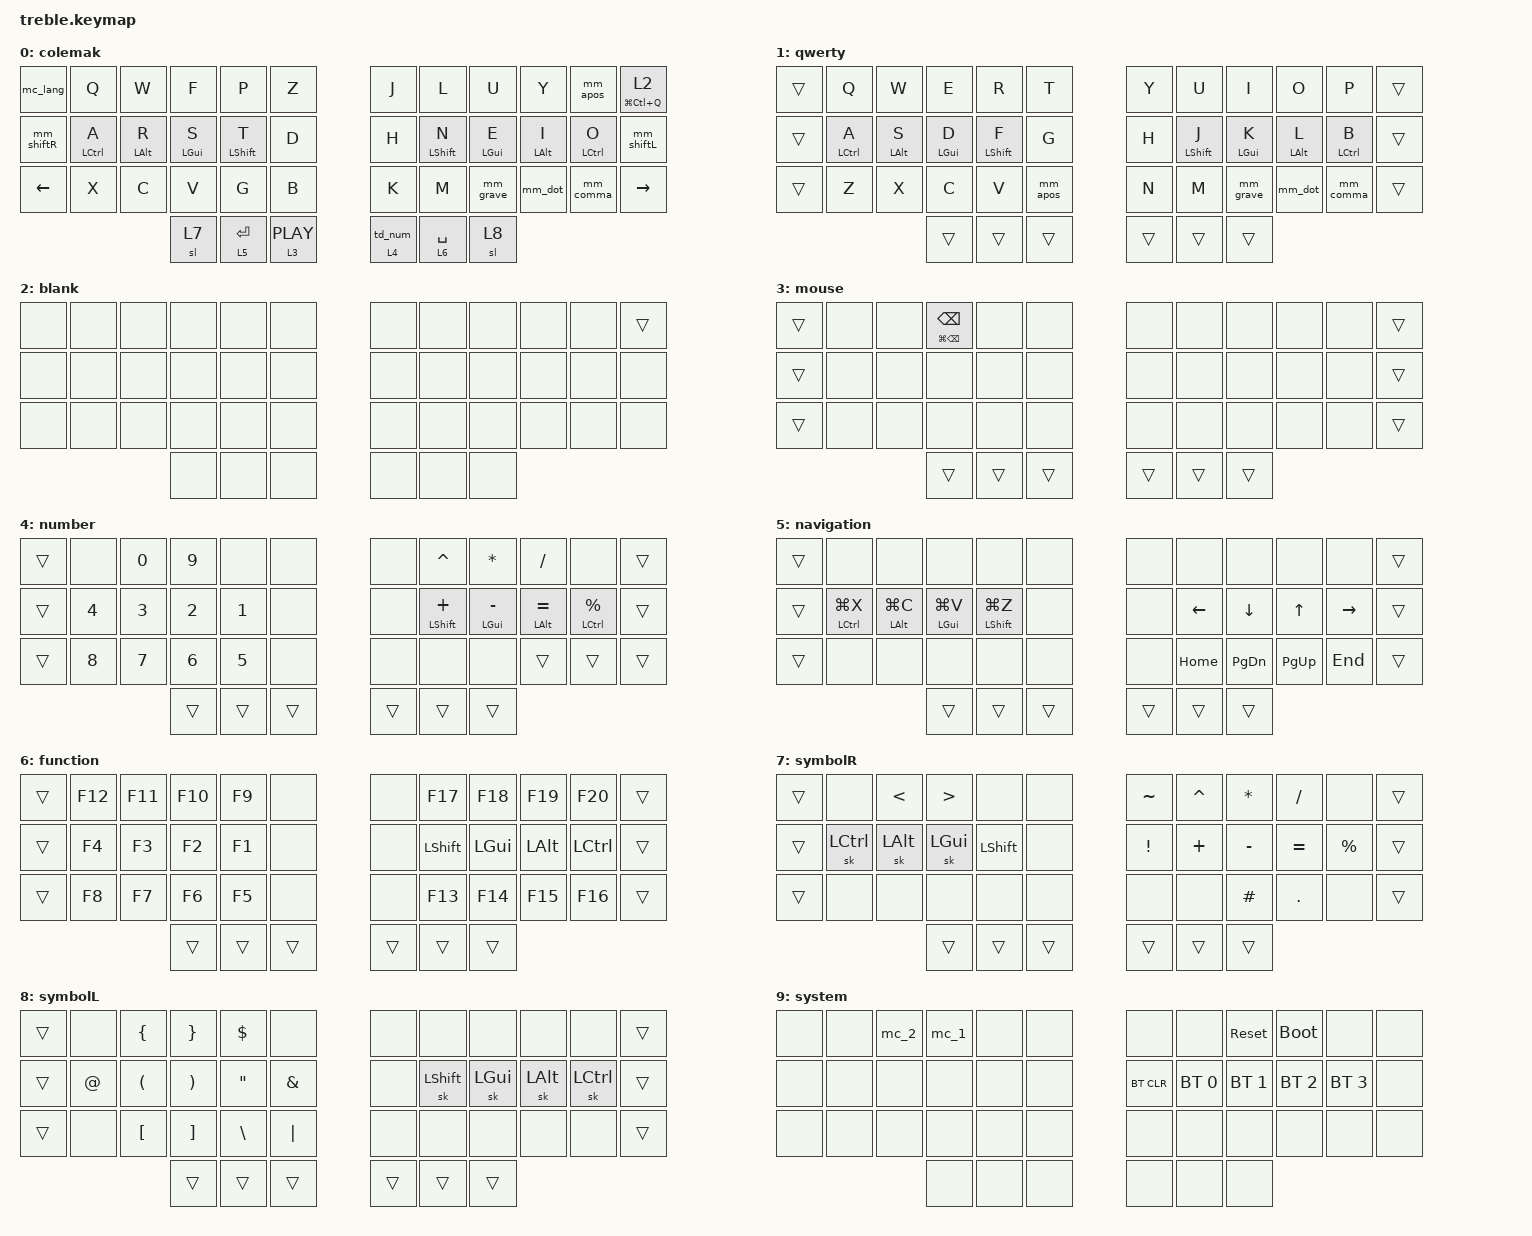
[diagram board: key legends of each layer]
#include <behaviors/num_word.dtsi>
#include <behaviors.dtsi>
#include <dt-bindings/zmk/bt.h>
#include <dt-bindings/zmk/keys.h>

/ {
    behaviors {
        /* stiky key */

        sk_quick: sk_quick {
            compatible = "zmk,behavior-sticky-key";
            label = "SK_QUICK";
            bindings = <&kp>;
            #binding-cells = <1>;
            release-after-ms = <1000>;
            quick-release;
        };

        /* mod-morph */

        mm_shiftR: mm_shiftR {
            compatible = "zmk,behavior-mod-morph";
            label = "MM_SHIFTR";
            bindings = <&sk_quick RIGHT_SHIFT>, <&kp CAPS>;

            #binding-cells = <0>;
            mods = <(MOD_LSFT)>;
        };

        mm_shiftL: mm_shiftL {
            compatible = "zmk,behavior-mod-morph";
            label = "MM_SHIFTL";
            bindings = <&sk_quick LEFT_SHIFT>, <&caps_word>;

            #binding-cells = <0>;
            mods = <(MOD_RSFT)>;
        };

        mm_space: mm_space {
            compatible = "zmk,behavior-mod-morph";
            label = "MM_SPACE";
            bindings = <&kp SPACE>, <&kp UNDER>;

            #binding-cells = <0>;
            mods = <(MOD_RSFT)>;
        };

        mm_apos: mm_apos {
            compatible = "zmk,behavior-mod-morph";
            label = "MM_APOS";
            bindings = <&kp APOS>, <&kp QUESTION>;

            #binding-cells = <0>;
            mods = <(MOD_RSFT)>;
        };

        mm_dot: mm_dot {
            compatible = "zmk,behavior-mod-morph";
            label = "MM_DOT";
            bindings = <&kp DOT>, <&kp COLON>;

            #binding-cells = <0>;
            mods = <(MOD_RSFT)>;
        };

        mm_comma: mm_comma {
            compatible = "zmk,behavior-mod-morph";
            label = "MM_COMMA";
            bindings = <&kp COMMA>, <&kp SEMI>;

            #binding-cells = <0>;
            mods = <(MOD_RSFT)>;
        };

        mm_grave: mm_grave {
            compatible = "zmk,behavior-mod-morph";
            label = "MM_GRAVE";
            bindings = <&kp GRAVE>, <&mc_code>;

            #binding-cells = <0>;
            mods = <(MOD_RSFT)>;
        };

        /* tap-dance */

        td_num: td_num {
            compatible = "zmk,behavior-tap-dance";
            #binding-cells = <0>;
            tapping-term-ms = <200>;
            bindings = <&num_word 4>, <&sl 4>;
        };

         /* mod-tap */

        mt_tapL: mt_tapL {
            compatible = "zmk,behavior-hold-tap";
            label = "MT_TAPL";
            bindings = <&kp>, <&kp>;

            #binding-cells = <2>;
            flavor = "tap-preferred";
            require-prior-idle-ms = <150>;
            hold-trigger-key-positions = <6 7 8 9 10 18 19 20 21 22 30 31 32 33 34 40 39>;
            tapping-term-ms = <240>;
            quick-tap-ms = <175>;
            hold-trigger-on-release;
        };

        mt_tapR: mt_tapR {
            compatible = "zmk,behavior-hold-tap";
            label = "MT_TAPR";
            bindings = <&kp>, <&kp>;

            #binding-cells = <2>;
            tapping-term-ms = <240>;
            quick-tap-ms = <175>;
            require-prior-idle-ms = <150>;
            flavor = "tap-preferred";
            hold-trigger-key-positions = <1 2 3 4 5 13 14 15 16 17 25 26 27 28 29 37 38>;
            hold-trigger-on-release;
        };

        mt_holdL: mt_holdL {
            compatible = "zmk,behavior-hold-tap";
            label = "MT_HOLDL";
            bindings = <&kp>, <&kp>;

            #binding-cells = <2>;
            tapping-term-ms = <280>;
            flavor = "hold-preferred";
            hold-trigger-key-positions = <13 14 15 16 19 20 21 22 7 8 9 10 20 31 32 33 34 6 18 30 39 40>;
            require-prior-idle-ms = <150>;
        };

        mt_holdR: mt_holdR {
            compatible = "zmk,behavior-hold-tap";
            label = "MT_HOLDR";
            bindings = <&kp>, <&kp>;

            #binding-cells = <2>;
            tapping-term-ms = <280>;
            flavor = "hold-preferred";
            hold-trigger-key-positions = <2 3 13 14 15 16 25 26 27 28 37 19 20 21 22>;
            require-prior-idle-ms = <150>;
        };

        /* layer-tap */

        lt_num: lt_num {
            compatible = "zmk,behavior-hold-tap";
            label = "LT_NUM";
            bindings = <&mo>, <&td_num>;

            #binding-cells = <2>;
            tapping-term-ms = <200>;
            flavor = "balanced";
        };

        lt_bal: lt_bal {
            compatible = "zmk,behavior-hold-tap";
            label = "LT_BAL";
            bindings = <&mo>, <&kp>;

            #binding-cells = <2>;
            tapping-term-ms = <200>;
            flavor = "balanced";
        };

        lt_nav: lt_nav {
            compatible = "zmk,behavior-hold-tap";
            label = "LT_NAV";
            bindings = <&mo>, <&kp>;

            #binding-cells = <2>;
            tapping-term-ms = <280>;
            flavor = "hold-preferred";
            hold-trigger-key-positions = <19 20 21 22 40 32 33 34 31 7 8 9 10 20 39 30 18 6 13 14 15 16>;
            require-prior-idle-ms = <150>;
        };

        lt_fun: lt_fun {
            compatible = "zmk,behavior-hold-tap";
            label = "LT_FUN";
            bindings = <&mo>, <&mm_space>;

            #binding-cells = <2>;
            tapping-term-ms = <280>;
            require-prior-idle-ms = <150>;
            flavor = "hold-preferred";
            hold-trigger-key-positions = <16 15 14 13 28 27 26 25 3 2 37 19 20 21 22 4 1>;
        };

        /* extra */

        ht_bspc: ht_bspc {
            compatible = "zmk,behavior-hold-tap";
            label = "HT_BSPC";
            bindings = <&kp>, <&kp>;

            #binding-cells = <2>;
            tapping-term-ms = <200>;
            quick-tap-ms = <175>;
            flavor = "tap-preferred";
        };

        ht_lock: ht_lock {
            compatible = "zmk,behavior-hold-tap";
            label = "HT_LOCK";
            bindings = <&kp>, <&tog>;

            #binding-cells = <2>;
            tapping-term-ms = <500>;
            flavor = "tap-preferred";
        };
    };

    /* macros */

    macros {
        mc_lang: mc_lang {
            compatible = "zmk,behavior-macro";
            #binding-cells = <0>;
            bindings =
                <&tog 1>,
                <&macro_press>,
                <&kp LALT &kp LCTRL>,
                <&macro_tap>,
                <&kp SPACE>,
                <&macro_release>,
                <&kp LALT &kp LCTRL>;

            label = "MC_LANG";
        };

        mc_1: mc_1 {
            compatible = "zmk,behavior-macro";
            #binding-cells = <0>;
            bindings = <&kp N1>;
            label = "MC_1";
            wait-ms = <1>;
            tap-ms = <1>;
        };

        mc_2: mc_2 {
            compatible = "zmk,behavior-macro";
            #binding-cells = <0>;
            bindings = <&kp N2>;
            label = "MC_2";
            wait-ms = <1>;
            tap-ms = <1>;
        };

        mc_code: mc_code {
            compatible = "zmk,behavior-macro";
            #binding-cells = <0>;
            bindings = <&kp GRAVE &kp GRAVE &kp GRAVE>;
            label = "MC_CODE";
            wait-ms = <1>;
            tap-ms = <1>;
        };
    };

    /* combos */

    combos {
        compatible = "zmk,combos";

        bspc {
            bindings = <&kp BACKSPACE>;
            key-positions = <9 8>;
            layers = <0 5 4 1 7 8 3 6>;
            require-prior-idle-ms = <75>;
            timeout-ms = <40>;
            slow-release;
        };

        del {
            bindings = <&kp DEL>;
            key-positions = <8 7>;
            timeout-ms = <40>;
            slow-release;
            require-prior-idle-ms = <75>;
            layers = <0 5 4 1 7 8 3 6>;
        };

        tab {
            bindings = <&kp TAB>;
            key-positions = <3 2>;
            timeout-ms = <40>;
            require-prior-idle-ms = <75>;
            layers = <0 1 5 4 6 3 7 8>;
            slow-release;
        };

        esc {
            bindings = <&kp ESC>;
            key-positions = <3 4>;
            timeout-ms = <40>;
            require-prior-idle-ms = <75>;
            layers = <0 1 3 4 5 6 7 8>;
            slow-release;
        };

        vol_dn {
            bindings = <&kp C_VOL_DN>;
            key-positions = <31 32>;
            require-prior-idle-ms = <150>;
            layers = <0 1>;
        };

        vol_up {
            bindings = <&kp C_VOL_UP>;
            key-positions = <32 33>;
            require-prior-idle-ms = <150>;
            layers = <0 1>;
        };

        bri_up {
            bindings = <&kp C_BRI_UP>;
            key-positions = <28 27>;
            require-prior-idle-ms = <150>;
            layers = <0 1>;
        };

        bri_dn {
            bindings = <&kp C_BRI_DEC>;
            key-positions = <27 26>;
            require-prior-idle-ms = <150>;
            layers = <0 1>;
        };

        next {
            bindings = <&kp C_NEXT>;
            key-positions = <31 33>;
            require-prior-idle-ms = <150>;
            layers = <0 1>;
        };

        prev {
            bindings = <&kp C_PREV>;
            key-positions = <26 28>;
            require-prior-idle-ms = <150>;
            layers = <0 1>;
        };
    };

    keymap {
        compatible = "zmk,keymap";

        colemak {
            bindings = <
&mc_lang    &kp Q             &kp W            &kp F            &kp P              &kp Z                                             &kp J            &kp L              &kp U            &kp Y            &mm_apos          &ht_lock LG(LC(Q)) 2
&mm_shiftR  &mt_tapL LCTRL A  &mt_tapL LALT R  &mt_tapL LGUI S  &mt_tapL LSHIFT T  &kp D                                             &kp H            &mt_tapR LSHIFT N  &mt_tapR LGUI E  &mt_tapR LALT I  &mt_tapR LCTRL O  &mm_shiftL
&kp LEFT    &kp X             &kp C            &kp V            &kp G              &kp B                                             &kp K            &kp M              &mm_grave        &mm_dot          &mm_comma         &kp RIGHT
                                                                &sl 7              &lt_nav 5 ENTER  &lt_bal 3 C_PLAY  &lt_num 4 0    &lt_fun 6 SPACE  &sl 8
            >;
        };

        qwerty {
            bindings = <
&trans  &kp Q             &kp W            &kp E            &kp R             &kp T                     &kp Y   &kp U             &kp I            &kp O            &kp P             &trans
&trans  &mt_tapL LCTRL A  &mt_tapL LALT S  &mt_tapL LGUI D  &mt_tapL LSHFT F  &kp G                     &kp H   &mt_tapR LSHFT J  &mt_tapR LGUI K  &mt_tapR LALT L  &mt_tapR LCTRL B  &trans
&trans  &kp Z             &kp X            &kp C            &kp V             &mm_apos                  &kp N   &kp M             &mm_grave        &mm_dot          &mm_comma         &trans
                                                            &trans            &trans    &trans  &trans  &trans  &trans
            >;
        };

        blank {
            bindings = <
&none  &none  &none  &none  &none  &none                &none  &none  &none  &none  &none  &trans
&none  &none  &none  &none  &none  &none                &none  &none  &none  &none  &none  &none
&none  &none  &none  &none  &none  &none                &none  &none  &none  &none  &none  &none
                            &none  &none  &none  &none  &none  &none
            >;
        };

        mouse {
            bindings = <
&trans  &none  &none  &ht_bspc LG(BACKSPACE) BACKSPACE  &none   &none                   &none   &none   &none  &none  &none  &trans
&trans  &none  &none  &none                             &none   &none                   &none   &none   &none  &none  &none  &trans
&trans  &none  &none  &none                             &none   &none                   &none   &none   &none  &none  &none  &trans
                                                        &trans  &trans  &trans  &trans  &trans  &trans
            >;
        };

        number {
            bindings = <
&trans  &none   &kp N0  &kp N9  &none   &none                   &none   &kp CARET             &kp STAR              &kp SLASH             &none                    &trans
&trans  &kp N4  &kp N3  &kp N2  &kp N1  &none                   &none   &mt_holdR LSHFT PLUS  &mt_holdR LGUI MINUS  &mt_holdR LALT EQUAL  &mt_holdR LCTRL PERCENT  &trans
&trans  &kp N8  &kp N7  &kp N6  &kp N5  &none                   &none   &none                 &none                 &trans                &trans                   &trans
                                &trans  &trans  &trans  &trans  &trans  &trans
            >;
        };

        navigation {
            bindings = <
&trans  &none                  &none                 &none                 &none                  &none                   &none   &none     &none      &none      &none      &trans
&trans  &mt_holdL LCTRL LG(X)  &mt_holdL LALT LG(C)  &mt_holdL LGUI LG(V)  &mt_holdL LSHFT LG(Z)  &none                   &none   &kp LEFT  &kp DOWN   &kp UP     &kp RIGHT  &trans
&trans  &none                  &none                 &none                 &none                  &none                   &none   &kp HOME  &kp PG_DN  &kp PG_UP  &kp END    &trans
                                                                           &trans                 &trans  &trans  &trans  &trans  &trans
            >;
        };

        function {
            bindings = <
&trans  &kp F12  &kp F11  &kp F10  &kp F9  &none                   &none   &kp F17    &kp F18   &kp F19   &kp F20    &trans
&trans  &kp F4   &kp F3   &kp F2   &kp F1  &none                   &none   &kp LSHFT  &kp LGUI  &kp LALT  &kp LCTRL  &trans
&trans  &kp F8   &kp F7   &kp F6   &kp F5  &none                   &none   &kp F13    &kp F14   &kp F15   &kp F16    &trans
                                   &trans  &trans  &trans  &trans  &trans  &trans
            >;
        };

        symbolR {
            bindings = <
&trans  &none      &kp LESS_THAN  &kp GREATER_THAN  &none       &none                   &kp TILDE        &kp CARET  &kp STAR   &kp FSLH   &none        &trans
&trans  &sk LCTRL  &sk LALT       &sk LGUI          &kp LSHIFT  &none                   &kp EXCLAMATION  &kp PLUS   &kp MINUS  &kp EQUAL  &kp PERCENT  &trans
&trans  &none      &none          &none             &none       &none                   &none            &none      &kp HASH   &kp DOT    &none        &trans
                                                    &trans      &trans  &trans  &trans  &trans           &trans
            >;
        };

        symbolL {
            bindings = <
&trans  &none   &kp LBRC              &kp RBRC               &kp DOLLAR         &none                          &none   &none       &none     &none     &none      &trans
&trans  &kp AT  &kp LEFT_PARENTHESIS  &kp RIGHT_PARENTHESIS  &kp DOUBLE_QUOTES  &kp AMPERSAND                  &none   &sk LSHIFT  &sk LGUI  &sk LALT  &sk LCTRL  &trans
&trans  &none   &kp LBKT              &kp RBKT               &kp BACKSLASH      &kp PIPE                       &none   &none       &none     &none     &none      &trans
                                                             &trans             &trans         &trans  &trans  &trans  &trans
            >;
        };

        system {
            bindings = <
&none  &none  &mc_2  &mc_1  &none  &none                &none       &none         &sys_reset    &bootloader   &none         &none
&none  &none  &none  &none  &none  &none                &bt BT_CLR  &bt BT_SEL 0  &bt BT_SEL 1  &bt BT_SEL 2  &bt BT_SEL 3  &none
&none  &none  &none  &none  &none  &none                &none       &none         &none         &none         &none         &none
                            &none  &none  &none  &none  &none       &none
            >;
        };
    };

    conditional_layers {
        compatible = "zmk,conditional-layers";

        system {
            if-layers = <3 4>;
            then-layer = <9>;
        };
    };
};
